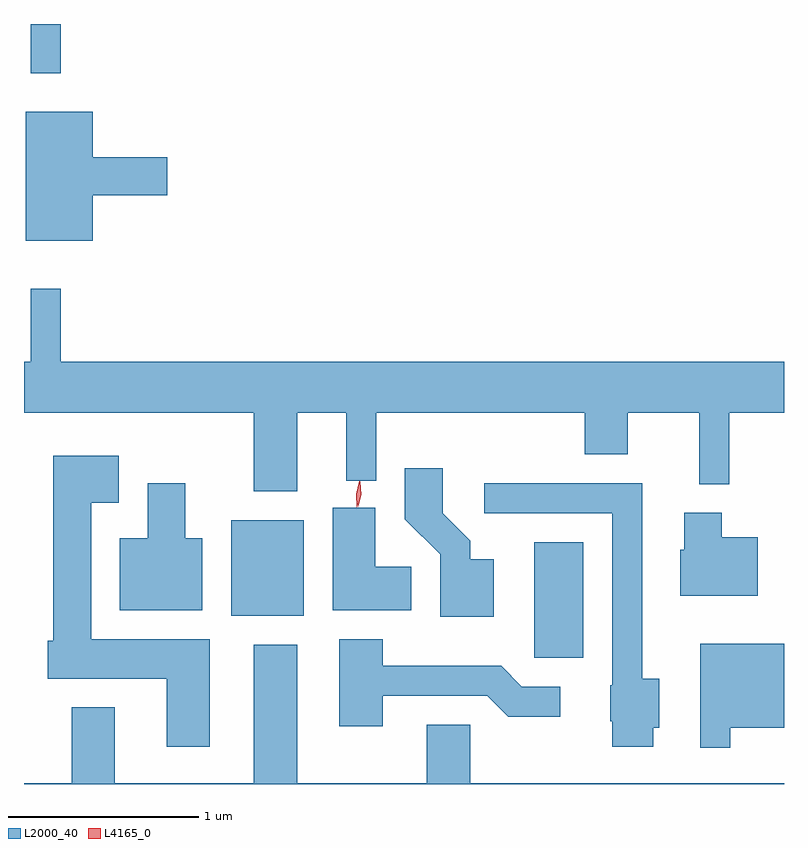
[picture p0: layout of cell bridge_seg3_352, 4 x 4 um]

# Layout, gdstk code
import gdstk
lib = gdstk.Library(unit=1e-6, precision=1e-09)
def R(c, l, rs):  # rectangles x0, y0, x1, y1
    for r in rs: c.add(gdstk.rectangle(r[:2], r[2:], *l))
def P(c, l, *ps):  # polygons
    for p in ps: c.add(gdstk.Polygon(p, *l))
L2000_40 = (2000, 40)
L4165_0 = (4165, 0)

bridge_seg3_352 = lib.new_cell('bridge_seg3_352')
R(bridge_seg3_352, L2000_40, [(686.616,1226.846,686.874,1227.454), (685.021,1227.066,685.404,1227.569), (683.966,1229.923,684.124,1230.181)])
P(bridge_seg3_352, L2000_40, [(684.294,1229.281),(684.684,1229.281),(684.684,1229.479),(684.294,1229.479),(684.294,1229.719),(683.941,1229.719),(683.941,1229.041),(684.294,1229.041)],
  [(685.141,1227.721),(685.369,1227.721),(685.369,1228.136),(685.626,1228.136),(685.626,1227.778),(685.784,1227.778),(685.784,1228.136),(686.881,1228.136),(686.881,1227.916),(687.109,1227.916),(687.109,1228.136),(687.486,1228.136),(687.486,1227.758),(687.644,1227.758),(687.644,1228.136),(687.931,1228.136),(687.931,1228.404),(684.124,1228.404),(684.124,1228.788),(683.966,1228.788),(683.966,1228.404),(683.931,1228.404),(683.931,1228.136),(685.141,1228.136)],
  [(684.909,1226.944),(684.284,1226.944),(684.284,1227.661),(684.429,1227.661),(684.429,1227.909),(684.086,1227.909),(684.086,1226.934),(684.056,1226.934),(684.056,1226.736),(684.681,1226.736),(684.681,1226.376),(684.909,1226.376)],
  [(686.404,1227.364),(686.279,1227.364),(686.279,1227.462),(686.134,1227.607),(686.134,1227.844),(685.936,1227.844),(685.936,1227.574),(686.121,1227.389),(686.121,1227.061),(686.404,1227.061)],
  [(684.869,1227.474),(684.779,1227.474),(684.779,1227.764),(684.581,1227.764),(684.581,1227.474),(684.436,1227.474),(684.436,1227.096),(684.869,1227.096)],
  [(687.244,1226.476),(687.274,1226.476),(687.274,1226.734),(687.184,1226.734),(687.184,1227.764),(686.353,1227.764),(686.353,1227.606),(687.026,1227.606),(687.026,1226.7),(687.016,1226.7),(687.016,1226.51),(687.026,1226.51),(687.026,1226.376),(687.244,1226.376)],
  [(685.969,1227.324),(685.779,1227.324),(685.779,1227.634),(685.556,1227.634),(685.556,1227.096),(685.969,1227.096)],
  [(687.794,1227.479),(687.604,1227.479),(687.604,1227.609),(687.406,1227.609),(687.406,1227.414),(687.386,1227.414),(687.386,1227.171),(687.794,1227.171)],
  [(685.819,1226.646),(686.369,1226.646),(686.479,1226.536),(686.753,1226.536),(686.753,1226.694),(686.552,1226.694),(686.442,1226.804),(685.819,1226.804),(685.819,1226.944),(685.591,1226.944),(685.591,1226.486),(685.819,1226.486)],
  [(687.649,1226.476),(687.931,1226.476),(687.931,1226.919),(687.491,1226.919),(687.491,1226.373),(687.649,1226.373)],
  [(687.931,1226.184),(686.279,1226.184),(686.279,1226.494),(686.051,1226.494),(686.051,1226.184),(685.369,1226.184),(685.369,1226.914),(685.141,1226.914),(685.141,1226.184),(684.409,1226.184),(684.409,1226.584),(684.181,1226.584),(684.181,1226.184),(683.931,1226.184),(683.931,1226.181),(687.931,1226.181)])
P(bridge_seg3_352, L4165_0, [(685.683,1227.637),(685.682,1227.638),(685.68,1227.707),(685.696,1227.774),(685.696,1227.775),(685.697,1227.774),(685.7,1227.705),(685.683,1227.638)],
  [(685.69,1227.639),(685.69,1227.639),(685.686,1227.706),(685.701,1227.771),(685.701,1227.771),(685.702,1227.771),(685.706,1227.704),(685.691,1227.639)])

lib.write_gds('bridge_seg3_352.gds')
